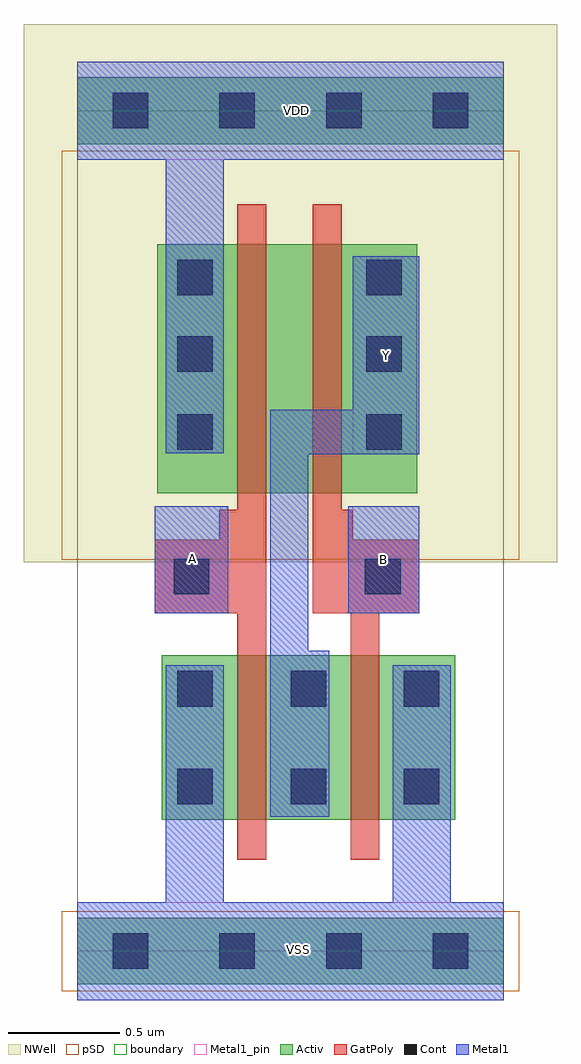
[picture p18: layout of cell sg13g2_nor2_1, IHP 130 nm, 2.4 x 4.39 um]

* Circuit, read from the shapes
.subckt sg13g2_nor2_1 A B VDD VSS Y
XM1 Y A VSS VSS sg13_lv_nmos w=0.74u l=0.13u
XM2 VSS B Y VSS sg13_lv_nmos w=0.74u l=0.13u
XM3 n1 A VDD VDD sg13_lv_pmos w=1.12u l=0.13u
XM4 Y B n1 VDD sg13_lv_pmos w=1.12u l=0.13u
.ends

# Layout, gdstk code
import gdstk
lib = gdstk.Library(unit=1e-6, precision=1e-09)
def R(c, l, rs):  # rectangles x0, y0, x1, y1
    for r in rs: c.add(gdstk.rectangle(r[:2], r[2:], *l))
def A(c, l, x, y, w, h, nx, ny, dx, dy):  # array of equal rectangles
    R(c, l, [(x+i*dx, y+j*dy, x+i*dx+w, y+j*dy+h) for i in range(nx) for j in range(ny)])
def P(c, l, *ps):  # polygons
    for p in ps: c.add(gdstk.Polygon(p, *l))
Activ = (1, 0)
GatPoly = (5, 0)
Cont = (6, 0)
Metal1 = (8, 0)
Metal1_pin = (8, 2)
pSD = (14, 0)
NWell = (31, 0)
boundary = (189, 4)

sg13g2_nor2_1 = lib.new_cell('sg13g2_nor2_1')
R(sg13g2_nor2_1, Activ, [(0,-0.15,1.92,0.15), (0.38,0.59,1.7,1.33), (0.36,2.06,1.53,3.18), (0,3.63,1.92,3.93)])
P(sg13g2_nor2_1, GatPoly, [(1.54,1.85),(1.24,1.85),(1.24,1.985),(1.19,1.985),(1.19,3.36),(1.06,3.36),(1.06,1.52),(1.23,1.52),(1.23,0.41),(1.36,0.41),(1.36,1.52),(1.54,1.52)],
  [(0.85,3.36),(0.72,3.36),(0.72,1.985),(0.64,1.985),(0.64,1.85),(0.35,1.85),(0.35,1.52),(0.72,1.52),(0.72,0.41),(0.85,0.41)])
A(sg13g2_nor2_1, Cont, 0.45, 0.66, 0.16, 0.16, 3, 2, 0.51, 0.44)
R(sg13g2_nor2_1, Cont, [(0.16,-0.08,0.32,0.08), (0.16,-0.08,0.32,0.08), (0.64,-0.08,0.8,0.08), (0.64,-0.08,0.8,0.08), (1.12,-0.08,1.28,0.08), (1.12,-0.08,1.28,0.08), (1.6,-0.08,1.76,0.08), (1.6,-0.08,1.76,0.08), (0.435,1.605,0.595,1.765), (1.295,1.605,1.455,1.765), (0.45,2.255,0.61,2.415), (1.3,2.255,1.46,2.415), (0.45,2.605,0.61,2.765), (1.3,2.605,1.46,2.765), (0.45,2.95,0.61,3.11), (1.3,2.95,1.46,3.11), (0.16,3.7,0.32,3.86), (0.16,3.7,0.32,3.86), (0.64,3.7,0.8,3.86), (0.64,3.7,0.8,3.86), (1.12,3.7,1.28,3.86), (1.12,3.7,1.28,3.86), (1.6,3.7,1.76,3.86), (1.6,3.7,1.76,3.86)])
R(sg13g2_nor2_1, Metal1, [(0.35,1.52,0.68,2), (1.22,1.52,1.54,2)])
P(sg13g2_nor2_1, Metal1, [(1.54,3.125),(1.24,3.125),(1.24,2.435),(0.87,2.435),(0.87,0.605),(1.135,0.605),(1.135,1.35),(1.04,1.35),(1.04,2.235),(1.54,2.235)],
  [(0,3.56),(0,4),(1.92,4),(1.92,3.56),(0.66,3.56),(0.66,2.24),(0.4,2.24),(0.4,3.56)],
  [(0,-0.22),(0,0.22),(0.4,0.22),(0.4,1.285),(0.66,1.285),(0.66,0.22),(1.42,0.22),(1.42,1.285),(1.68,1.285),(1.68,0.22),(1.92,0.22),(1.92,-0.22)])
R(sg13g2_nor2_1, Metal1_pin, [(0,-0.22,1.92,0.22), (0.35,1.52,0.68,2), (1.22,1.52,1.54,2), (1.24,2.235,1.54,3.125), (0,3.56,1.92,4)])
R(sg13g2_nor2_1, pSD, [(-0.07,-0.18,1.99,0.18), (-0.07,1.76,1.99,3.6)])
R(sg13g2_nor2_1, NWell, [(-0.24,1.75,2.16,4.17)])
R(sg13g2_nor2_1, boundary, [(0,0,1.92,3.78)])
sg13g2_nor2_1.add(gdstk.Label('A', (0.52,1.765), layer=8, texttype=25))
sg13g2_nor2_1.add(gdstk.Label('VDD', (0.985,3.78), layer=8, texttype=25))
sg13g2_nor2_1.add(gdstk.Label('Y', (1.39,2.68), layer=8, texttype=25))
sg13g2_nor2_1.add(gdstk.Label('VSS', (0.995,0.005), layer=8, texttype=25))
sg13g2_nor2_1.add(gdstk.Label('B', (1.38,1.76), layer=8, texttype=25))

lib.write_gds('sg13g2_nor2_1.gds')
